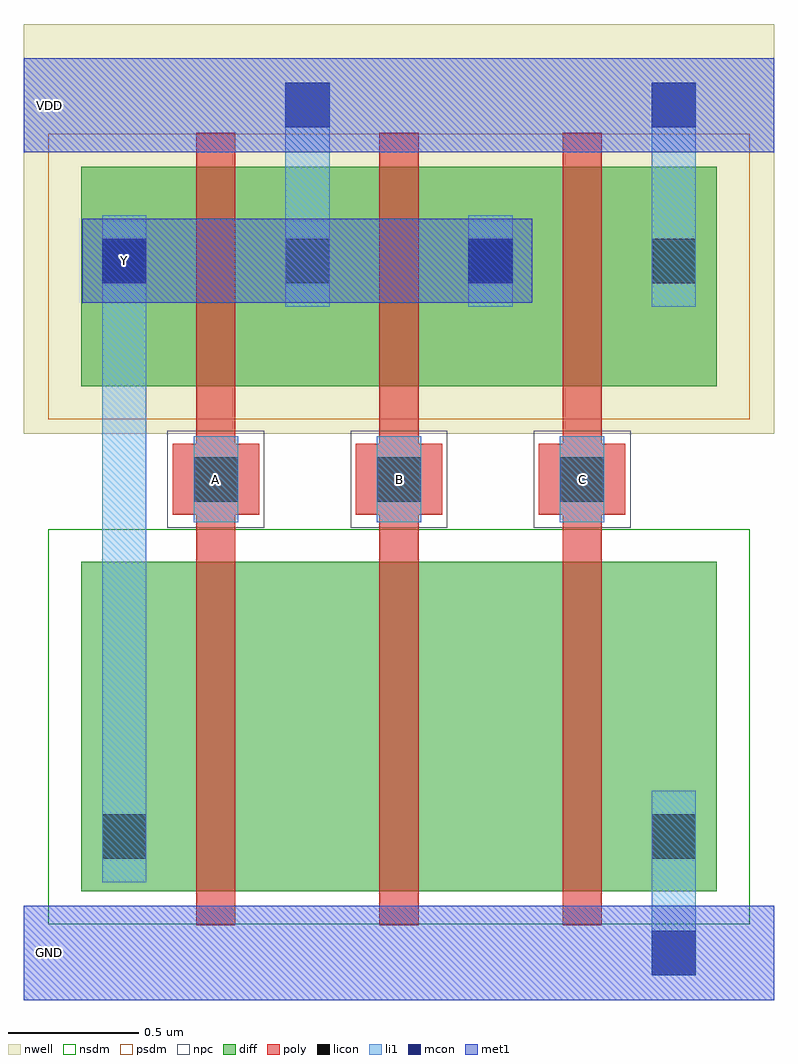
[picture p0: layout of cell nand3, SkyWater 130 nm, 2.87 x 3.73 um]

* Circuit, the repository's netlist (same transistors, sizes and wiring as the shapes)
.subckt nand3 a b c y vdd vss
XXP1 y a vdd vdd sky130_fd_pr__pfet_01v8 L=0.15 W=0.84 nf=1 m=1
XXP2 y b vdd vdd sky130_fd_pr__pfet_01v8 L=0.15 W=0.84 nf=1 m=1
XXP3 y c vdd vdd sky130_fd_pr__pfet_01v8 L=0.15 W=0.84 nf=1 m=1
XXN1 y a n1 vss sky130_fd_pr__nfet_01v8 L=0.15 W=1.26 nf=1 m=1
XXN2 n1 b n2 vss sky130_fd_pr__nfet_01v8 L=0.15 W=1.26 nf=1 m=1
XXN3 n2 c vss vss sky130_fd_pr__nfet_01v8 L=0.15 W=1.26 nf=1 m=1
.ends

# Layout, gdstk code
import gdstk
lib = gdstk.Library(unit=1e-6, precision=1e-09)
def R(c, l, rs):  # rectangles x0, y0, x1, y1
    for r in rs: c.add(gdstk.rectangle(r[:2], r[2:], *l))
def A(c, l, x, y, w, h, nx, ny, dx, dy):  # array of equal rectangles
    R(c, l, [(x+i*dx, y+j*dy, x+i*dx+w, y+j*dy+h) for i in range(nx) for j in range(ny)])
nwell = (64, 20)
diff = (65, 20)
poly = (66, 20)
licon = (66, 44)
li1 = (67, 20)
mcon = (67, 44)
met1 = (68, 20)
nsdm = (93, 44)
psdm = (94, 20)
npc = (95, 20)

nand3 = lib.new_cell('nand3')
R(nand3, nwell, [(0,1.985,2.87,3.55)])
R(nand3, diff, [(0.22,0.235,2.65,1.495), (0.22,2.165,2.65,3.005)])
A(nand3, poly, 0.66, 0.105, 0.15, 1.57, 3, 1, 0.7, 0)
A(nand3, poly, 0.57, 1.675, 0.33, 0.27, 3, 1, 0.7, 0)
A(nand3, poly, 0.66, 1.945, 0.15, 1.19, 3, 1, 0.7, 0)
A(nand3, licon, 0.65, 1.725, 0.17, 0.17, 3, 1, 0.7, 0)
A(nand3, licon, 0.3, 2.56, 0.17, 0.17, 4, 1, 0.7, 0)
R(nand3, licon, [(0.3,0.36,0.47,0.53), (2.4,0.36,2.57,0.53)])
A(nand3, li1, 0.65, 1.645, 0.17, 0.33, 3, 1, 0.7, 0)
R(nand3, li1, [(2.4,-0.085,2.57,0.62), (0.3,0.27,0.47,2.82), (1,2.47,1.17,3.325), (1.7,2.47,1.87,2.82), (2.4,2.47,2.57,3.325)])
R(nand3, mcon, [(2.4,-0.085,2.57,0.085), (0.3,2.56,0.47,2.73), (1.7,2.56,1.87,2.73), (1,3.155,1.17,3.325), (2.4,3.155,2.57,3.325)])
R(nand3, met1, [(0,-0.18,2.87,0.18), (0.225,2.485,1.945,2.805), (0,3.06,2.87,3.42)])
R(nand3, nsdm, [(0.095,0.11,2.775,1.62)])
R(nand3, psdm, [(0.095,2.04,2.775,3.13)])
A(nand3, npc, 0.55, 1.625, 0.37, 0.37, 3, 1, 0.7, 0)
nand3.add(gdstk.Label('A', (0.735,1.81), layer=67, texttype=5))
nand3.add(gdstk.Label('B', (1.435,1.81), layer=67, texttype=5))
nand3.add(gdstk.Label('C', (2.135,1.81), layer=67, texttype=5))
nand3.add(gdstk.Label('Y', (0.385,2.645), layer=68, texttype=5))
nand3.add(gdstk.Label('VDD', (0.1,3.24), layer=68, texttype=5))
nand3.add(gdstk.Label('GND', (0.1,0), layer=68, texttype=5))

lib.write_gds('nand3.gds')
